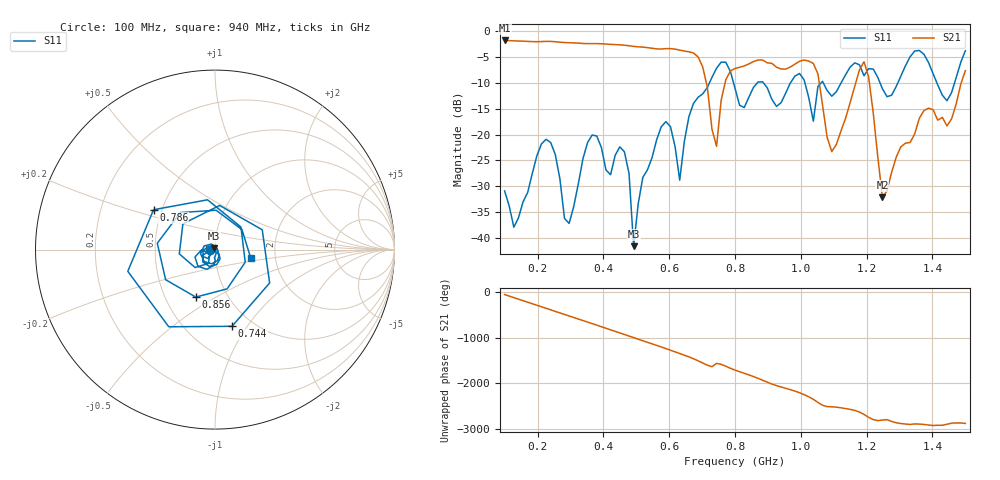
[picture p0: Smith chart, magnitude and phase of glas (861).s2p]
! NanoVNA-App
! Date: 2025-09-25 16:02:10
! Start: 100MHz Stop: 1,5GHz Points: 101
! S-Parameter data: F S11 S21 S12 S22
# Hz S RI R 50
!  Frequency  S11_Real  S11_Imag  S21_Real  S21_Imag  S12_Real  S12_Imag  S22_Real  S22_Imag
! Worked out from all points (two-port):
!   101 points, 100 MHz to 1.5 GHz, reference 50 ohm
!   highest |S21| = -1.80 dB at 100 MHz (marker M1); lowest = -32.1 dB at 1.248 GHz (marker M2)
!   |S21| within 3 dB of the highest: start of sweep to 684.4 MHz
!   lowest |S11| = -41.6 dB at 492 MHz (marker M3), VSWR 1.02, Z = 49.5 + j0.641 ohm
!   |S11| at or under -10 dB: start of sweep to 722.4 MHz; 795.5 MHz to 867.8 MHz (72.3 MHz wide, 8.69 % of centre); 886.4 MHz to 968.5 MHz (82.14 MHz wide, 8.86 % of centre) (the widest 3 of 7)
!   S12 and S22 are empty: the file has one direction only
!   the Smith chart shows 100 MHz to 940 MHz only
!   S11 on the Smith chart (normalised r, x): 100 MHz: 0.94, -0.01; 744 MHz: 0.81, -0.85; 786 MHz: 0.45, +0.24; 856 MHz: 0.71, -0.41; 940 MHz: 1.49, -0.14
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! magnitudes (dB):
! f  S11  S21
! 100 MHz  -30.9  -1.8
! 128 MHz  -37.9  -1.9
! 226 MHz  -20.9  -2.0
! 296 MHz  -37.2  -2.2
! 338 MHz  -24.7  -2.4
! 464 MHz  -23.4  -2.7
! 492 MHz  -41.6  -2.9
! 576 MHz  -18.5  -3.5
! 632 MHz  -28.8  -3.7
! 702 MHz  -12.1  -6.9
! 744 MHz  -7.2  -22.3
! 786 MHz  -7.8  -7.7
! 800 MHz  -11.0  -7.2
! 856 MHz  -10.9  -5.9
! 940 MHz  -13.9  -7.3
! 996 MHz  -8.2  -5.8
! 1.038 GHz  -17.4  -6.3
! 1.094 GHz  -12.6  -23.3
! 1.192 GHz  -8.6  -5.9
! 1.248 GHz  -11.2  -32.1
! 1.276 GHz  -12.4  -27.3
! 1.5 GHz  -3.8  -7.6
